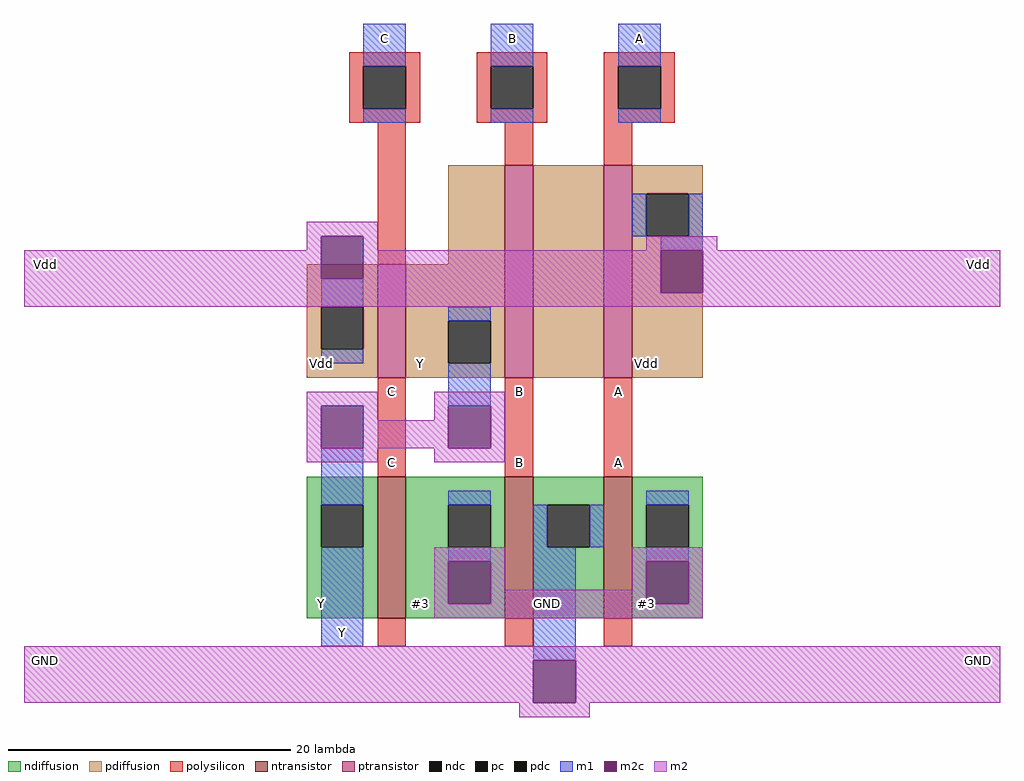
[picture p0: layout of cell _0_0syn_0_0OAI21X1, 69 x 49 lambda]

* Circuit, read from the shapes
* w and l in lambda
.subckt _0_0syn_0_0OAI21X1 #3 A B C GND Vdd Y
M1 #3 C Y VSUBS nfet w=10 l=2
M2 GND B #3 VSUBS nfet w=10 l=2
M3 #3 A GND VSUBS nfet w=10 l=2
M4 Y C Vdd NWELL pfet w=8 l=2
M5 n1 B Y NWELL pfet w=15 l=2
M6 Vdd A n1 NWELL pfet w=15 l=2
.ends

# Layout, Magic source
magic
tech sky130l
<< ndiffusion >>
rect 8 14 13 16
rect 8 11 9 14
rect 12 11 13 14
rect 8 6 13 11
rect 15 14 22 16
rect 15 11 18 14
rect 21 11 22 14
rect 15 6 22 11
rect 24 14 29 16
rect 24 11 25 14
rect 28 11 29 14
rect 24 6 29 11
rect 31 14 36 16
rect 31 11 32 14
rect 35 11 36 14
rect 31 6 36 11
<< ndc >>
rect 9 11 12 14
rect 18 11 21 14
rect 25 11 28 14
rect 32 11 35 14
<< ntransistor >>
rect 13 6 15 16
rect 22 6 24 16
rect 29 6 31 16
<< pdiffusion >>
rect 18 31 22 38
rect 8 28 13 31
rect 8 25 9 28
rect 12 25 13 28
rect 8 23 13 25
rect 15 27 22 31
rect 15 24 18 27
rect 21 24 22 27
rect 15 23 22 24
rect 24 23 29 38
rect 31 36 36 38
rect 31 33 32 36
rect 35 33 36 36
rect 31 23 36 33
<< pdc >>
rect 9 25 12 28
rect 18 24 21 27
rect 32 33 35 36
<< ptransistor >>
rect 13 23 15 31
rect 22 23 24 38
rect 29 23 31 38
<< polysilicon >>
rect 11 45 16 46
rect 11 42 12 45
rect 15 42 16 45
rect 11 41 16 42
rect 20 45 25 46
rect 20 42 21 45
rect 24 42 25 45
rect 20 41 25 42
rect 29 45 34 46
rect 29 42 30 45
rect 33 42 34 45
rect 29 41 34 42
rect 13 31 15 41
rect 22 38 24 41
rect 29 38 31 41
rect 13 16 15 23
rect 22 16 24 23
rect 29 16 31 23
rect 13 4 15 6
rect 22 4 24 6
rect 29 4 31 6
<< pc >>
rect 12 42 15 45
rect 21 42 24 45
rect 30 42 33 45
<< m1 >>
rect 12 45 15 48
rect 12 41 15 42
rect 21 45 24 48
rect 21 41 24 42
rect 30 45 33 48
rect 30 41 33 42
rect 31 33 32 36
rect 35 33 36 36
rect 9 28 12 30
rect 33 32 36 33
rect 9 24 12 25
rect 18 27 21 28
rect 18 21 21 24
rect 9 14 12 18
rect 9 4 12 11
rect 18 14 21 15
rect 32 14 35 15
rect 18 10 21 11
rect 24 11 25 14
rect 28 11 29 14
rect 24 3 27 11
rect 32 10 35 11
<< m2c >>
rect 9 30 12 33
rect 33 29 36 32
rect 9 18 12 21
rect 18 18 21 21
rect 18 7 21 10
rect 32 7 35 10
rect 24 0 27 3
<< m2 >>
rect 8 33 13 34
rect 8 32 9 33
rect -12 30 9 32
rect 12 32 13 33
rect 32 32 37 33
rect 12 30 33 32
rect -12 29 33 30
rect 36 29 57 32
rect -12 28 57 29
rect 8 21 13 22
rect 8 18 9 21
rect 12 20 13 21
rect 17 21 22 22
rect 17 20 18 21
rect 12 18 18 20
rect 21 18 22 21
rect 8 17 13 18
rect 17 17 22 18
rect 17 10 22 11
rect 17 7 18 10
rect 21 8 22 10
rect 31 10 36 11
rect 31 8 32 10
rect 21 7 32 8
rect 35 7 36 10
rect 17 6 36 7
rect -12 3 57 4
rect -12 0 24 3
rect 27 0 57 3
rect 23 -1 28 0
<< labels >>
rlabel pdiffusion 32 24 32 24 3 Vdd
rlabel ndiffusion 32 7 32 7 3 #3
rlabel polysilicon 30 17 30 17 3 A
rlabel polysilicon 30 22 30 22 3 A
rlabel ndiffusion 25 7 25 7 3 GND
rlabel polysilicon 23 17 23 17 3 B
rlabel polysilicon 23 22 23 22 3 B
rlabel ndiffusion 16 7 16 7 3 #3
rlabel pdiffusion 16 24 16 24 3 Y
rlabel polysilicon 14 17 14 17 3 C
rlabel polysilicon 14 22 14 22 3 C
rlabel ndiffusion 9 7 9 7 3 Y
rlabel pdiffusion 9 24 9 24 3 Vdd
rlabel m1 9 4 12 6 2 Y
rlabel m1 12 46 15 48 4 C
rlabel m1 21 46 24 48 5 B
rlabel m1 30 46 33 48 5 A
rlabel m2 54 30 57 32 7 Vdd
rlabel m2 -12 30 -9 32 3 Vdd
rlabel m2 -12 2 -9 4 2 GND
rlabel m2 54 2 57 4 8 GND
<< end >>
